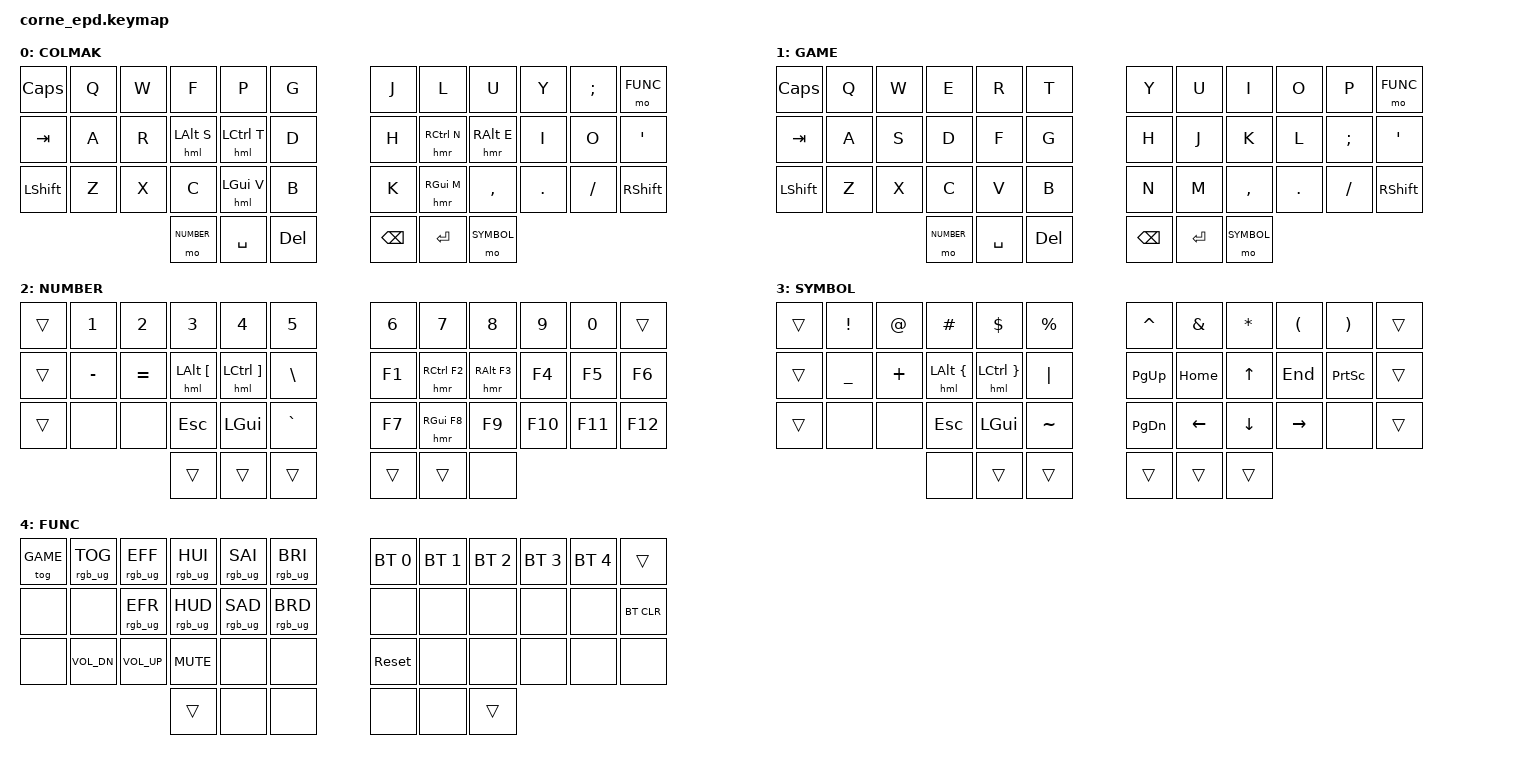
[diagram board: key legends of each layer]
/*
 * Copyright (c) 2020 The ZMK Contributors
 *
 * SPDX-License-Identifier: MIT
 */

#include <behaviors.dtsi>
#include <dt-bindings/zmk/bt.h>
#include <dt-bindings/zmk/keys.h>
#include <dt-bindings/zmk/outputs.h>
#include <dt-bindings/zmk/rgb.h>

/ {
    chosen {
        // The board's physical layout picks the transform (6-column by default).
        // For the 5-column layout use instead:
        // zmk,physical-layout = &foostan_corne_5col_layout;
    };
};

// Layer order matters: a higher layer wins. GAME sits below NUMBER/SYMBOL/FUNC
// so their keys still work while GAME is toggled on (same as reviung41).
#define DEFAULT 0
#define GAME    1
#define NUMBER  2
#define SYMBOL  3
#define FUNC    4

/*
 * Key positions (42 keys, 6-column layout)
 *
 *  0  1  2  3  4  5      6  7  8  9 10 11
 * 12 13 14 15 16 17     18 19 20 21 22 23
 * 24 25 26 27 28 29     30 31 32 33 34 35
 *          36 37 38     39 40 41
 */
#define KEYS_L 0 1 2 3 4 5 12 13 14 15 16 17 24 25 26 27 28 29
#define KEYS_R 6 7 8 9 10 11 18 19 20 21 22 23 30 31 32 33 34 35
#define THUMBS 36 37 38 39 40 41

/*
 * Home-row mods, "positional" style (same settings as reviung41):
 *  - A mod key only turns into a hold when the NEXT key is on the OTHER hand
 *    (or a thumb). Pressing a key on the same hand while rolling = always a tap.
 *  - balanced: if another key is pressed AND released inside tapping-term -> hold.
 *  - require-prior-idle: if you were typing within the last 150 ms -> always a tap.
 *  - Same-hand combos (e.g. Ctrl(T)+C) still work: hold the mod past tapping-term (200 ms) first.
 */
#define HRM_COMMON                     \
    flavor = "balanced";               \
    tapping-term-ms = <200>;           \
    quick-tap-ms = <175>;              \
    require-prior-idle-ms = <150>;     \
    hold-trigger-on-release;           \
    #binding-cells = <2>;              \
    bindings = <&kp>, <&kp>;


/ {
    behaviors {
        td0: td0 {
            compatible = "zmk,behavior-tap-dance";
            label = "TD0";
            #binding-cells = <0>;
            bindings = <&kp LEFT_SHIFT>, <&kp CAPS>;
        };

        // left-hand mods: hold triggers only with right-hand keys or thumbs
        hml: home_row_mod_left {
            compatible = "zmk,behavior-hold-tap";
            HRM_COMMON
            hold-trigger-key-positions = <KEYS_R THUMBS>;
        };

        // right-hand mods: hold triggers only with left-hand keys or thumbs
        hmr: home_row_mod_right {
            compatible = "zmk,behavior-hold-tap";
            HRM_COMMON
            hold-trigger-key-positions = <KEYS_L THUMBS>;
        };

    };

    keymap {
        compatible = "zmk,keymap";

        default_layer {
            display-name = "COLMAK";

            // --------------------------------------------------------------------------------
            // | CAPS |  Q  |  W  |  F   |   P   |  G  |   |  J  |   L   |  U   |  Y  |  ;  | <FUNC>  |
            // | TAB  |  A  |  R  |alt(S)|ctrl(T)|  D  |   |  H  |ctrl(N)|alt(E)|  I  |  O  |  '   | 
            // | SHFT |  Z  |  X  |  C   |gui(V) |  B  |   |  K  |gui(M) |  ,   |  .  |  /  | SHFT |
            //                  |<NUMBER>|  SPC  | DEL |   | BSP | ENT   |<SYMBOL>|

            bindings = <
&kp CAPS    &kp Q  &kp W  &kp F        &kp P         &kp G      &kp J     &kp L         &kp U        &kp Y    &kp SEMI  &mo FUNC
&kp TAB     &kp A  &kp R  &hml LALT S  &hml LCTRL T  &kp D      &kp H     &hmr RCTRL N  &hmr RALT E  &kp I    &kp O     &kp SQT
&kp LSHIFT  &kp Z  &kp X  &kp C        &hml LGUI V   &kp B      &kp K     &hmr RGUI M   &kp COMMA    &kp DOT  &kp FSLH  &kp RSHIFT
                          &mo NUMBER   &kp SPACE     &kp DEL    &kp BSPC  &kp RET       &mo SYMBOL
            >;
        
        };

        game_layer {
            display-name = "GAME";

            // -----------------------------------------------------------------------------------------
            // | CAPS |  Q  |  W  |  E  |  R  |  T  |   |  Y  |  U  |  I  |  O  |  P  |<FUNC>|
            // | TAB  |  A  |  S  |  D  |  F  |  G  |   |  H  |  J  |  K  |  L  |  ;  |  '   |
            // | SHFT |  Z  |  X  |  C  |  V  |  B  |   |  N  |  M  |  ,  |  .  |  /  | SHFT |
            //                  |<NUMBER>| SPC | DEL |   | BSP | ENT |<SYMBOL>|
            // Leave GAME with FUNC (top-right) + top-left. No home-row mods here.
            // ESC is on NUMBER/SYMBOL (C position), so top-right opens FUNC like DEFAULT.

            bindings = <
&kp CAPS   &kp Q  &kp W  &kp E  &kp R      &kp T         &kp Y          &kp U      &kp I      &kp O    &kp P          &mo FUNC
&kp TAB    &kp A  &kp S  &kp D  &kp F      &kp G         &kp H          &kp J      &kp K      &kp L    &kp SEMICOLON  &kp SINGLE_QUOTE
&kp LSHFT  &kp Z  &kp X  &kp C  &kp V      &kp B         &kp N          &kp M      &kp COMMA  &kp DOT  &kp SLASH      &kp RSHFT
                         &mo NUMBER  &kp SPACE  &kp DELETE    &kp BACKSPACE  &kp ENTER  &mo SYMBOL
            >;

        };

        number_layer {
            display-name = "NUMBER";

            // -----------------------------------------------------------------------------------------
            // | CAPS  |  1  |  2  |  3   |  4    |  5  |   |  6  |  7     |  8    |  9  |  0  | ESC  |
            // | TAB   |  -  |  =  |alt([)|ctrl(])|  \  |   | F1  |ctrl(F2)|alt(F3)| F4  | F5  | F6   |
            // | SHFT  |     |     | ESC  |LGUI   |  `  |   | F7  |gui(F8) |  F9   | F10 | F11 | F12  |
            //                    | GUI |     | SPC |    | BSP | ENT |    |

            bindings = <
&trans  &kp N1     &kp N2     &kp N3          &kp N4           &kp N5       &kp N6         &kp N7        &kp N8    &kp N9   &kp N0   &trans
&trans  &kp MINUS  &kp EQUAL  &hml LALT LBKT  &hml LCTRL RBKT  &kp BSLH     &kp F1         &hmr RCTRL F2  &hmr RALT F3    &kp F4   &kp F5   &kp F6
&trans  &none      &none      &kp ESC         &kp LGUI         &kp GRAVE    &kp F7         &hmr RGUI F8        &kp F9    &kp F10  &kp F11  &kp F12
                              &trans          &trans           &trans       &trans         &trans        &none
            >;
        
        };

        symbol_layer {
            display-name = "SYMBOL";

            // -----------------------------------------------------------------------------------------
            // | CAPS |  !  |  @  |  #  |  $  |  %  |   |  ^  |  &  |  *  |  (  |  )  | ESC  |
            // | TAB  |  _  |  +  |alt({)|ctrl(})|  |  |   |PgUp |HOME |  ↑  | END |PrSc |      |
            // | SHFT |     |     | ESC | LGUI|  ~  |   |PgDn |  ←  |  ↓  |  →  |     | SHFT |
            //                   |     | SPC | DEL |   | BSP | ENT |<SYMBOL>|

            bindings = <
&trans  &kp EXCL   &kp AT    &kp HASH  &kp DLLR  &kp PRCNT    &kp CARET  &kp AMPS  &kp ASTRK  &kp LPAR   &kp RPAR   &trans
&trans  &kp UNDER  &kp PLUS  &hml LALT LBRC  &hml LCTRL RBRC  &kp PIPE     &kp PG_UP  &kp HOME  &kp UP     &kp END    &kp PSCRN  &trans
&trans  &none      &none     &kp ESC   &kp LGUI  &kp TILDE    &kp PG_DN  &kp LEFT  &kp DOWN   &kp RIGHT  &none      &trans
                             &none   &trans    &trans       &trans     &trans    &trans
            >;
        
        };

        func_layer {
            display-name = "FUNC";

            // -----------------------------------------------------------------------------------------------
            // | GAME | RGB on/off | effect+ | hue+ | sat+ | bright+ |   | BT0 | BT1 | BT2 | BT3 | BT4 |       |
            // |      |            | effect- | hue- | sat- | bright- |   |     |     |     |     |     |BT CLR |
            // |      |   VOL-     |  VOL+   | MUTE |      |         |   |RESET|     |     |     |     |       |

            bindings = <
&tog GAME  &rgb_ug RGB_TOG  &rgb_ug RGB_EFF  &rgb_ug RGB_HUI  &rgb_ug RGB_SAI  &rgb_ug RGB_BRI    &bt BT_SEL 0  &bt BT_SEL 1  &bt BT_SEL 2  &bt BT_SEL 3  &bt BT_SEL 4  &trans
&none   &none            &rgb_ug RGB_EFR  &rgb_ug RGB_HUD  &rgb_ug RGB_SAD  &rgb_ug RGB_BRD    &none         &none         &none         &none         &none         &bt BT_CLR
&none  &kp C_VOL_DN  &kp C_VOL_UP  &kp C_MUTE  &none  &none  &sys_reset  &none  &none  &none  &none  &none
                                    &trans      &none  &none    &none         &none         &trans
            >;
        
        };

    };
};
